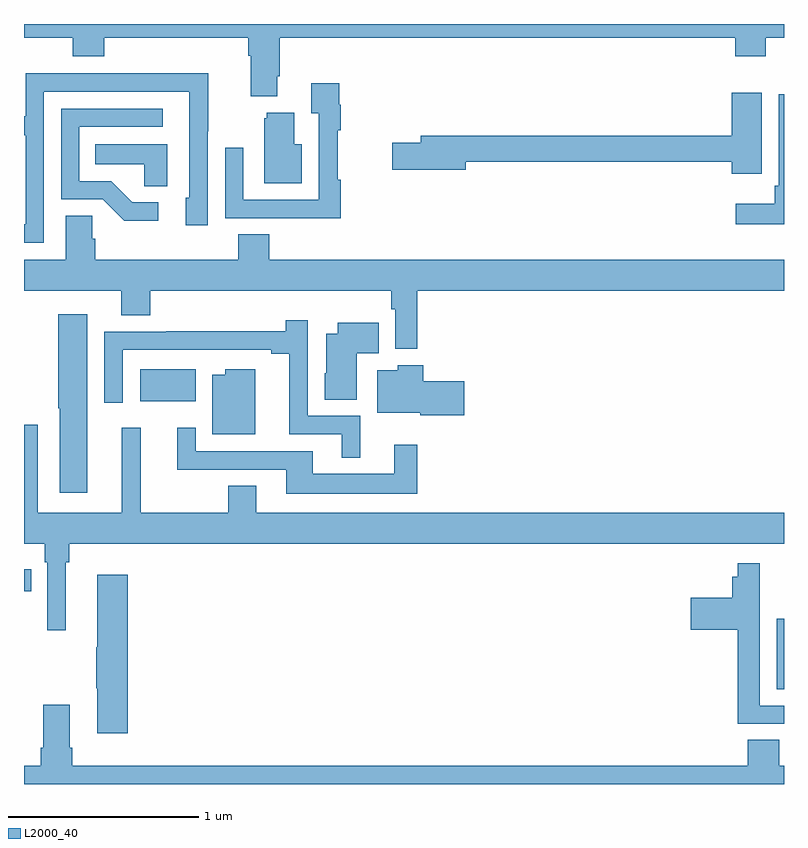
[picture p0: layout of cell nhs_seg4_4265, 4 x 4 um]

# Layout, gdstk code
import gdstk
lib = gdstk.Library(unit=1e-6, precision=1e-09)
def R(c, l, rs):  # rectangles x0, y0, x1, y1
    for r in rs: c.add(gdstk.rectangle(r[:2], r[2:], *l))
def P(c, l, *ps):  # polygons
    for p in ps: c.add(gdstk.Polygon(p, *l))
L2000_40 = (2000, 40)

nhs_seg4_4265 = lib.new_cell('nhs_seg4_4265')
R(nhs_seg4_4265, L2000_40, [(342.962,785.4,343,785.769), (339,785.914,339.038,786.03), (339.611,786.914,339.904,787.084)])
P(nhs_seg4_4265, L2000_40, [(340.333,788.626),(340.346,788.626),(340.346,788.828),(342.743,788.828),(342.743,788.729),(342.903,788.729),(342.903,788.828),(343,788.828),(343,788.9),(339,788.9),(339,788.828),(339.257,788.828),(339.257,788.729),(339.422,788.729),(339.422,788.828),(340.181,788.828),(340.181,788.732),(340.193,788.732),(340.193,788.519),(340.333,788.519)],
  [(339.105,788.544),(339.87,788.544),(339.87,787.986),(339.851,787.986),(339.851,787.842),(339.966,787.842),(339.966,788.335),(339.969,788.335),(339.969,788.642),(339.505,788.642),(339.505,788.64),(339.009,788.64),(339.009,788.415),(339,788.415),(339,788.314),(339.009,788.314),(339.009,787.845),(339,787.845),(339,787.749),(339.105,787.749)],
  [(340.667,788.081),(340.652,788.081),(340.652,788.342),(340.667,788.342),(340.667,788.474),(340.66,788.474),(340.66,788.587),(340.511,788.587),(340.511,788.431),(340.551,788.431),(340.551,787.974),(340.155,787.974),(340.155,788.248),(340.059,788.248),(340.059,787.878),(340.375,787.878),(340.375,787.877),(340.667,787.877)],
  [(342.883,788.539),(342.725,788.539),(342.725,788.312),(341.087,788.312),(341.087,788.276),(340.938,788.276),(340.938,788.134),(341.326,788.134),(341.326,788.176),(342.725,788.176),(342.725,788.112),(342.883,788.112)],
  [(343,788.53),(342.972,788.53),(342.972,788.05),(342.952,788.05),(342.952,787.954),(342.747,787.954),(342.747,787.847),(343,787.847)],
  [(339.706,787.962),(339.571,787.962),(339.46,788.073),(339.291,788.073),(339.291,788.358),(339.73,788.358),(339.73,788.454),(339.195,788.454),(339.195,787.977),(339.414,787.977),(339.527,787.865),(339.706,787.865)],
  [(340.462,788.266),(340.423,788.266),(340.423,788.434),(340.277,788.434),(340.277,788.403),(340.265,788.403),(340.265,788.063),(340.462,788.063)],
  [(339.754,788.266),(339.376,788.266),(339.376,788.162),(339.633,788.162),(339.633,788.047),(339.754,788.047)],
  [(341.069,787.496),(343,787.496),(343,787.66),(340.292,787.66),(340.292,787.793),(340.127,787.793),(340.127,787.66),(339.374,787.66),(339.374,787.769),(339.36,787.769),(339.36,787.892),(339.221,787.892),(339.221,787.66),(339,787.66),(339,787.496),(339.512,787.496),(339.512,787.366),(339.665,787.366),(339.665,787.496),(340.933,787.496),(340.933,787.4),(340.953,787.4),(340.953,787.19),(341.069,787.19)],
  [(339.334,787.372),(339.181,787.372),(339.181,786.877),(339.188,786.877),(339.188,786.432),(339.334,786.432)],
  [(340.771,786.837),(340.494,786.837),(340.494,787.342),(340.378,787.342),(340.378,787.283),(339.748,787.283),(339.748,787.281),(339.423,787.281),(339.423,786.906),(339.519,786.906),(339.519,787.185),(340.301,787.185),(340.301,787.165),(340.397,787.165),(340.397,786.741),(340.673,786.741),(340.673,786.617),(340.771,786.617)],
  [(340.75,787.166),(340.868,787.166),(340.868,787.327),(340.652,787.327),(340.652,787.27),(340.592,787.27),(340.592,787.062),(340.583,787.062),(340.583,786.922),(340.75,786.922)],
  [(341.317,787.02),(341.102,787.02),(341.102,787.105),(340.968,787.105),(340.968,787.078),(340.859,787.078),(340.859,786.854),(341.085,786.854),(341.085,786.842),(341.317,786.842)],
  [(340.216,787.084),(340.058,787.084),(340.058,787.054),(339.992,787.054),(339.992,786.74),(340.216,786.74)],
  [(339.22,786.068),(339.239,786.068),(339.239,786.164),(343,786.164),(343,786.328),(340.222,786.328),(340.222,786.47),(340.075,786.47),(340.075,786.328),(339.614,786.328),(339.614,786.775),(339.515,786.775),(339.515,786.328),(339.073,786.328),(339.073,786.79),(339,786.79),(339,786.164),(339.11,786.164),(339.11,786.068),(339.123,786.068),(339.123,785.709),(339.22,785.709)],
  [(341.071,786.685),(340.949,786.685),(340.949,786.532),(340.519,786.532),(340.519,786.651),(339.903,786.651),(339.903,786.775),(339.806,786.775),(339.806,786.555),(340.379,786.555),(340.379,786.428),(341.071,786.428)],
  [(343,785.313),(342.873,785.313),(342.873,786.061),(342.757,786.061),(342.757,785.992),(342.728,785.992),(342.728,785.881),(342.51,785.881),(342.51,785.711),(342.757,785.711),(342.757,785.217),(343,785.217)],
  [(339.545,786.001),(339.386,786.001),(339.386,785.621),(339.379,785.621),(339.379,785.404),(339.386,785.404),(339.386,785.166),(339.545,785.166)],
  [(343,784.996),(342.974,784.996),(342.974,785.132),(342.809,785.132),(342.809,784.996),(339.254,784.996),(339.254,785.092),(339.241,785.092),(339.241,785.317),(339.101,785.317),(339.101,785.092),(339.089,785.092),(339.089,784.996),(339,784.996),(339,784.9),(343,784.9)])

lib.write_gds('nhs_seg4_4265.gds')
